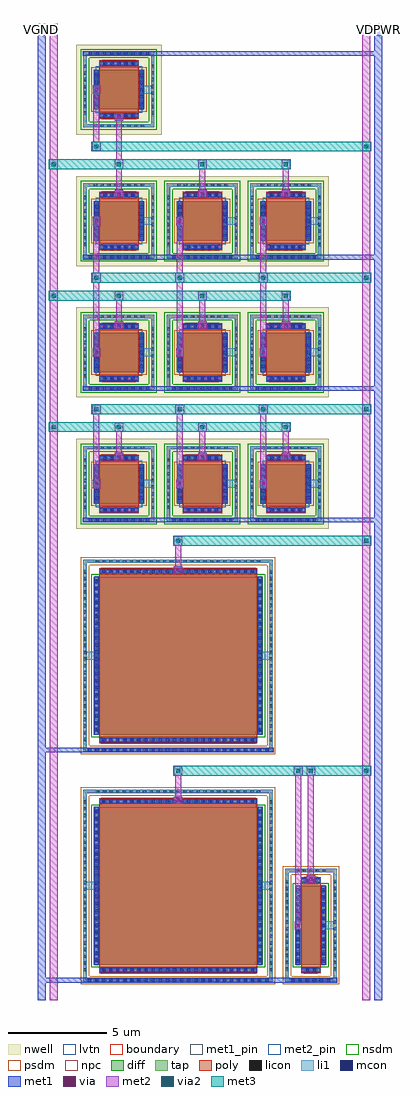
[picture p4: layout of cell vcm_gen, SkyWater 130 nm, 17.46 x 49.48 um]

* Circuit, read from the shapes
.subckt vcm_gen VDPWR VGND pbias vcm
XM1 VGND vcm VGND VGND sky130_fd_pr__nfet_01v8 w=8 l=8 m=2
XM2 VGND vcm vcm VGND sky130_fd_pr__nfet_01v8 w=4 l=1
XM3 VDPWR pbias vcm VDPWR sky130_fd_pr__pfet_01v8_lvt w=2 l=2 m=10
.ends

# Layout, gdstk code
import gdstk
lib = gdstk.Library(unit=1e-6, precision=1e-09)
def R(c, l, rs):  # rectangles x0, y0, x1, y1
    for r in rs: c.add(gdstk.rectangle(r[:2], r[2:], *l))
def A(c, l, x, y, w, h, nx, ny, dx, dy):  # array of equal rectangles
    R(c, l, [(x+i*dx, y+j*dy, x+i*dx+w, y+j*dy+h) for i in range(nx) for j in range(ny)])
nwell = (64, 20)
diff = (65, 20)
tap = (65, 44)
poly = (66, 20)
licon = (66, 44)
li1 = (67, 20)
mcon = (67, 44)
met1_pin = (68, 16)
met1 = (68, 20)
via = (68, 44)
met2_pin = (69, 16)
met2 = (69, 20)
via2 = (69, 44)
met3 = (70, 20)
nsdm = (93, 44)
psdm = (94, 20)
npc = (95, 20)
lvtn = (125, 44)
boundary = (235, 4)

sky130_fd_pr__nfet_01v8_ = lib.new_cell('sky130_fd_pr__nfet_01v8_7TCZS3')
R(sky130_fd_pr__nfet_01v8_, diff, [(-4.29,-4,4.29,4)])
R(sky130_fd_pr__nfet_01v8_, tap, [(-4.8,-4.87,4.8,-4.7), (-4.8,-4.7,-4.63,4.7), (4.63,-4.7,4.8,4.7), (-4.8,4.7,4.8,4.87)])
R(sky130_fd_pr__nfet_01v8_, poly, [(-4,-4.44,4,4.44)])
A(sky130_fd_pr__nfet_01v8_, licon, -4.165, -4.87, 0.17, 0.17, 25, 2, 0.34, 9.57)
A(sky130_fd_pr__nfet_01v8_, licon, -3.825, -4.36, 0.17, 0.17, 23, 2, 0.34, 8.55)
A(sky130_fd_pr__nfet_01v8_, licon, -4.8, -4.335, 0.17, 0.17, 1, 26, 0, 0.34)
A(sky130_fd_pr__nfet_01v8_, licon, 4.63, -4.335, 0.17, 0.17, 1, 26, 0, 0.34)
A(sky130_fd_pr__nfet_01v8_, licon, -4.23, -3.825, 0.17, 0.17, 1, 23, 0, 0.34)
A(sky130_fd_pr__nfet_01v8_, licon, 4.06, -3.825, 0.17, 0.17, 1, 23, 0, 0.34)
R(sky130_fd_pr__nfet_01v8_, li1, [(-4.8,-4.87,4.8,-4.7), (-4.8,-4.7,-4.63,4.7), (4.63,-4.7,4.8,4.7), (-4,-4.36,4,-4.19), (-4.23,-4.02,-4.06,4.02), (4.06,-4.02,4.23,4.02), (-4,4.19,4,4.36), (-4.8,4.7,4.8,4.87)])
A(sky130_fd_pr__nfet_01v8_, mcon, -4.585, -4.87, 0.17, 0.17, 26, 1, 0.36, 0)
A(sky130_fd_pr__nfet_01v8_, mcon, -3.865, -4.36, 0.17, 0.17, 22, 2, 0.36, 8.55)
A(sky130_fd_pr__nfet_01v8_, mcon, -4.23, -3.865, 0.17, 0.17, 1, 22, 0, 0.36)
A(sky130_fd_pr__nfet_01v8_, mcon, 4.06, -3.865, 0.17, 0.17, 1, 22, 0, 0.36)
R(sky130_fd_pr__nfet_01v8_, met1, [(-4.69,-4.9,4.69,-4.67), (-3.98,-4.39,3.98,-4.16), (-4.26,-4,-4.03,4), (4.03,-4,4.26,4), (-3.98,4.16,3.98,4.39)])
R(sky130_fd_pr__nfet_01v8_, nsdm, [(-4.415,-4.125,4.415,4.125)])
R(sky130_fd_pr__nfet_01v8_, psdm, [(-4.925,-4.995,4.925,-4.575), (-4.925,-4.575,-4.505,4.575), (4.505,-4.575,4.925,4.575), (-4.925,4.575,4.925,4.995)])
R(sky130_fd_pr__nfet_01v8_, npc, [(-3.925,-4.46,3.925,-4.09), (-3.925,4.09,3.925,4.46)])
R(sky130_fd_pr__nfet_01v8_, boundary, [(-4.715,-4.785,4.715,4.785)])
sky130_fd_pr__nfet_01v8_.add(gdstk.Label('B', (0,-4.785), layer=67, texttype=5))
sky130_fd_pr__nfet_01v8_.add(gdstk.Label('D', (-4.145,0), layer=67, texttype=5))
sky130_fd_pr__nfet_01v8_.add(gdstk.Label('S', (4.145,0), layer=67, texttype=5))
sky130_fd_pr__nfet_01v8_.add(gdstk.Label('G', (0,4.275), layer=67, texttype=5))

c_sky130_fd_pr__nfet_01v8_ = lib.new_cell('sky130_fd_pr__nfet_01v8_FEH8BE')
R(c_sky130_fd_pr__nfet_01v8_, diff, [(-0.79,-2,0.79,2)])
R(c_sky130_fd_pr__nfet_01v8_, tap, [(-1.3,-2.87,1.3,-2.7), (-1.3,-2.7,-1.13,2.7), (1.13,-2.7,1.3,2.7), (-1.3,2.7,1.3,2.87)])
R(c_sky130_fd_pr__nfet_01v8_, poly, [(-0.5,-2.44,0.5,2.44)])
A(c_sky130_fd_pr__nfet_01v8_, licon, -0.765, -2.87, 0.17, 0.17, 5, 2, 0.34, 5.57)
A(c_sky130_fd_pr__nfet_01v8_, licon, -1.3, -2.295, 0.17, 0.17, 1, 14, 0, 0.34)
A(c_sky130_fd_pr__nfet_01v8_, licon, 1.13, -2.295, 0.17, 0.17, 1, 14, 0, 0.34)
A(c_sky130_fd_pr__nfet_01v8_, licon, -0.73, -1.785, 0.17, 0.17, 1, 11, 0, 0.34)
A(c_sky130_fd_pr__nfet_01v8_, licon, 0.56, -1.785, 0.17, 0.17, 1, 11, 0, 0.34)
R(c_sky130_fd_pr__nfet_01v8_, licon, [(-0.255,-2.36,-0.085,-2.19), (0.085,-2.36,0.255,-2.19), (-0.255,2.19,-0.085,2.36), (0.085,2.19,0.255,2.36)])
R(c_sky130_fd_pr__nfet_01v8_, li1, [(-1.3,-2.87,1.3,-2.7), (-1.3,-2.7,-1.13,2.7), (1.13,-2.7,1.3,2.7), (-0.5,-2.36,0.5,-2.19), (-0.73,-2.02,-0.56,2.02), (0.56,-2.02,0.73,2.02), (-0.5,2.19,0.5,2.36), (-1.3,2.7,1.3,2.87)])
A(c_sky130_fd_pr__nfet_01v8_, mcon, -0.985, -2.87, 0.17, 0.17, 6, 1, 0.36, 0)
A(c_sky130_fd_pr__nfet_01v8_, mcon, -0.73, -1.885, 0.17, 0.17, 1, 11, 0, 0.36)
A(c_sky130_fd_pr__nfet_01v8_, mcon, 0.56, -1.885, 0.17, 0.17, 1, 11, 0, 0.36)
R(c_sky130_fd_pr__nfet_01v8_, mcon, [(-0.265,-2.36,-0.095,-2.19), (0.095,-2.36,0.265,-2.19), (-0.265,2.19,-0.095,2.36), (0.095,2.19,0.265,2.36)])
R(c_sky130_fd_pr__nfet_01v8_, met1, [(-1.19,-2.9,1.19,-2.67), (-0.48,-2.39,0.48,-2.16), (-0.76,-2,-0.53,2), (0.53,-2,0.76,2), (-0.48,2.16,0.48,2.39)])
R(c_sky130_fd_pr__nfet_01v8_, nsdm, [(-0.915,-2.125,0.915,2.125)])
R(c_sky130_fd_pr__nfet_01v8_, psdm, [(-1.425,-2.995,1.425,-2.575), (-1.425,-2.575,-1.005,2.575), (1.005,-2.575,1.425,2.575), (-1.425,2.575,1.425,2.995)])
R(c_sky130_fd_pr__nfet_01v8_, npc, [(-0.355,-2.46,0.355,-2.09), (-0.355,2.09,0.355,2.46)])
R(c_sky130_fd_pr__nfet_01v8_, boundary, [(-1.215,-2.785,1.215,2.785)])
c_sky130_fd_pr__nfet_01v8_.add(gdstk.Label('B', (0,-2.785), layer=67, texttype=5))
c_sky130_fd_pr__nfet_01v8_.add(gdstk.Label('D', (-0.645,0), layer=67, texttype=5))
c_sky130_fd_pr__nfet_01v8_.add(gdstk.Label('S', (0.645,0), layer=67, texttype=5))
c_sky130_fd_pr__nfet_01v8_.add(gdstk.Label('G', (0,2.275), layer=67, texttype=5))

sky130_fd_pr__pfet_01v8_ = lib.new_cell('sky130_fd_pr__pfet_01v8_lvt_HDY43K')
R(sky130_fd_pr__pfet_01v8_, nwell, [(-1.98,-2.095,1.98,2.095)])
R(sky130_fd_pr__pfet_01v8_, diff, [(-1.29,-1,1.29,1)])
R(sky130_fd_pr__pfet_01v8_, tap, [(-1.8,-1.915,1.8,-1.745), (-1.8,-1.745,-1.63,1.745), (1.63,-1.745,1.8,1.745), (-1.8,1.745,1.8,1.915)])
R(sky130_fd_pr__pfet_01v8_, poly, [(-1,-1.485,1,1.485)])
A(sky130_fd_pr__pfet_01v8_, licon, -1.275, -1.915, 0.17, 0.17, 8, 2, 0.34, 3.66)
A(sky130_fd_pr__pfet_01v8_, licon, -0.765, -1.405, 0.17, 0.17, 5, 2, 0.34, 2.64)
A(sky130_fd_pr__pfet_01v8_, licon, -1.8, -1.275, 0.17, 0.17, 1, 8, 0, 0.34)
A(sky130_fd_pr__pfet_01v8_, licon, 1.63, -1.275, 0.17, 0.17, 1, 8, 0, 0.34)
A(sky130_fd_pr__pfet_01v8_, licon, -1.23, -0.935, 0.17, 0.17, 1, 6, 0, 0.34)
A(sky130_fd_pr__pfet_01v8_, licon, 1.06, -0.935, 0.17, 0.17, 1, 6, 0, 0.34)
R(sky130_fd_pr__pfet_01v8_, li1, [(-1.8,-1.915,1.8,-1.745), (-1.8,-1.745,-1.63,1.745), (1.63,-1.745,1.8,1.745), (-1,-1.405,1,-1.235), (-1.23,-1.02,-1.06,1.02), (1.06,-1.02,1.23,1.02), (-1,1.235,1,1.405), (-1.8,1.745,1.8,1.915)])
A(sky130_fd_pr__pfet_01v8_, mcon, -1.525, -1.915, 0.17, 0.17, 9, 1, 0.36, 0)
A(sky130_fd_pr__pfet_01v8_, mcon, -0.805, -1.405, 0.17, 0.17, 5, 2, 0.36, 2.64)
A(sky130_fd_pr__pfet_01v8_, mcon, -1.23, -0.805, 0.17, 0.17, 1, 5, 0, 0.36)
A(sky130_fd_pr__pfet_01v8_, mcon, 1.06, -0.805, 0.17, 0.17, 1, 5, 0, 0.36)
R(sky130_fd_pr__pfet_01v8_, met1, [(-1.69,-1.945,1.69,-1.715), (-0.98,-1.435,0.98,-1.205), (-1.26,-1,-1.03,1), (1.03,-1,1.26,1), (-0.98,1.205,0.98,1.435)])
R(sky130_fd_pr__pfet_01v8_, nsdm, [(-1.925,-2.04,1.925,-1.62), (-1.925,-1.62,-1.505,1.62), (1.505,-1.62,1.925,1.62), (-1.925,1.62,1.925,2.04)])
R(sky130_fd_pr__pfet_01v8_, psdm, [(-1.415,-1.125,1.415,1.125)])
R(sky130_fd_pr__pfet_01v8_, npc, [(-0.865,-1.505,0.865,-1.135), (-0.865,1.135,0.865,1.505)])
R(sky130_fd_pr__pfet_01v8_, lvtn, [(-1.18,-1.18,1.18,1.18)])
R(sky130_fd_pr__pfet_01v8_, boundary, [(-1.715,-1.83,1.715,1.83)])
sky130_fd_pr__pfet_01v8_.add(gdstk.Label('B', (0,-1.83), layer=67, texttype=5))
sky130_fd_pr__pfet_01v8_.add(gdstk.Label('D', (-1.145,0), layer=67, texttype=5))
sky130_fd_pr__pfet_01v8_.add(gdstk.Label('S', (1.145,0), layer=67, texttype=5))
sky130_fd_pr__pfet_01v8_.add(gdstk.Label('G', (0,1.32), layer=67, texttype=5))

c_sky130_fd_pr__pfet_01v8_ = lib.new_cell('sky130_fd_pr__pfet_01v8_lvt_HD45KK')
R(c_sky130_fd_pr__pfet_01v8_, nwell, [(-1.98,-2.095,1.98,2.095)])
R(c_sky130_fd_pr__pfet_01v8_, diff, [(-1.29,-1,1.29,1)])
R(c_sky130_fd_pr__pfet_01v8_, tap, [(-1.8,-1.915,1.8,-1.745), (-1.8,-1.745,-1.63,1.745), (1.63,-1.745,1.8,1.745), (-1.8,1.745,1.8,1.915)])
R(c_sky130_fd_pr__pfet_01v8_, poly, [(-1,-1.485,1,1.485)])
A(c_sky130_fd_pr__pfet_01v8_, licon, -1.275, -1.915, 0.17, 0.17, 8, 2, 0.34, 3.66)
A(c_sky130_fd_pr__pfet_01v8_, licon, -0.765, -1.405, 0.17, 0.17, 5, 2, 0.34, 2.64)
A(c_sky130_fd_pr__pfet_01v8_, licon, -1.8, -1.275, 0.17, 0.17, 1, 8, 0, 0.34)
A(c_sky130_fd_pr__pfet_01v8_, licon, 1.63, -1.275, 0.17, 0.17, 1, 8, 0, 0.34)
A(c_sky130_fd_pr__pfet_01v8_, licon, -1.23, -0.935, 0.17, 0.17, 1, 6, 0, 0.34)
A(c_sky130_fd_pr__pfet_01v8_, licon, 1.06, -0.935, 0.17, 0.17, 1, 6, 0, 0.34)
R(c_sky130_fd_pr__pfet_01v8_, li1, [(-1.8,-1.915,1.8,-1.745), (-1.8,-1.745,-1.63,1.745), (1.63,-1.745,1.8,1.745), (-1,-1.405,1,-1.235), (-1.23,-1.02,-1.06,1.02), (1.06,-1.02,1.23,1.02), (-1,1.235,1,1.405), (-1.8,1.745,1.8,1.915)])
A(c_sky130_fd_pr__pfet_01v8_, mcon, -0.805, -1.405, 0.17, 0.17, 5, 2, 0.36, 2.64)
A(c_sky130_fd_pr__pfet_01v8_, mcon, -1.23, -0.805, 0.17, 0.17, 1, 5, 0, 0.36)
A(c_sky130_fd_pr__pfet_01v8_, mcon, 1.06, -0.805, 0.17, 0.17, 1, 5, 0, 0.36)
A(c_sky130_fd_pr__pfet_01v8_, mcon, -1.525, 1.745, 0.17, 0.17, 9, 1, 0.36, 0)
R(c_sky130_fd_pr__pfet_01v8_, met1, [(-0.98,-1.435,0.98,-1.205), (-1.26,-1,-1.03,1), (1.03,-1,1.26,1), (-0.98,1.205,0.98,1.435), (-1.69,1.715,1.69,1.945)])
R(c_sky130_fd_pr__pfet_01v8_, nsdm, [(-1.925,-2.04,1.925,-1.62), (-1.925,-1.62,-1.505,1.62), (1.505,-1.62,1.925,1.62), (-1.925,1.62,1.925,2.04)])
R(c_sky130_fd_pr__pfet_01v8_, psdm, [(-1.415,-1.125,1.415,1.125)])
R(c_sky130_fd_pr__pfet_01v8_, npc, [(-0.865,-1.505,0.865,-1.135), (-0.865,1.135,0.865,1.505)])
R(c_sky130_fd_pr__pfet_01v8_, lvtn, [(-1.18,-1.18,1.18,1.18)])
R(c_sky130_fd_pr__pfet_01v8_, boundary, [(-1.715,-1.83,1.715,1.83)])
c_sky130_fd_pr__pfet_01v8_.add(gdstk.Label('B', (0,-1.83), layer=67, texttype=5))
c_sky130_fd_pr__pfet_01v8_.add(gdstk.Label('D', (-1.145,0), layer=67, texttype=5))
c_sky130_fd_pr__pfet_01v8_.add(gdstk.Label('S', (1.145,0), layer=67, texttype=5))
c_sky130_fd_pr__pfet_01v8_.add(gdstk.Label('G', (0,1.32), layer=67, texttype=5))

vcm_gen = lib.new_cell('vcm_gen')
A(vcm_gen, nwell, -0.45, 22.89, 12.79, 4.56, 1, 3, 0, 6.66)
R(vcm_gen, nwell, [(-0.45,42.87,3.88,47.43)])
A(vcm_gen, li1, 2.775, 24.97, 0.74, 0.4, 3, 3, 4.23, 6.66)
R(vcm_gen, li1, [(12.005,2.585,12.745,2.985), (-0.085,4.585,0.655,4.985), (8.775,4.585,9.515,4.985), (-0.085,16.255,0.655,16.655), (8.775,16.255,9.515,16.655), (2.775,44.95,3.515,45.35)])
R(vcm_gen, met1_pin, [(-2.4,47.88,-2,48.48), (14.66,47.88,15.06,48.48)])
A(vcm_gen, met1, -0.12, 23.22, 15.18, 0.24, 1, 3, 0, 6.66)
A(vcm_gen, met1, 0.385, 24.955, 0.37, 0.43, 3, 3, 4.23, 6.66)
A(vcm_gen, met1, 1.5, 26.375, 0.43, 0.37, 3, 3, 4.23, 6.66)
R(vcm_gen, met1, [(-2.4,-1,-2,-0.12), (14.66,-1,15.06,23.22), (-2.4,-0.12,12.78,0.12), (-2.4,0.12,-2,11.55), (10.615,2.57,10.985,3), (11.23,4.945,11.66,5.315), (4.5,8.945,4.93,9.315), (-2.4,11.55,9.55,11.79), (-2.4,11.79,-2,48.48), (4.5,20.615,4.93,20.985), (14.66,23.46,15.06,29.88), (14.66,30.12,15.06,36.54), (14.66,36.78,15.06,46.86), (1.5,43.575,1.93,43.945), (0.385,44.935,0.755,45.365), (-0.12,46.86,15.06,47.1), (14.66,47.1,15.06,48.48)])
A(vcm_gen, via, 0.495, 25.095, 0.15, 0.15, 3, 3, 4.23, 6.66)
A(vcm_gen, via, 1.64, 26.485, 0.15, 0.15, 3, 3, 4.23, 6.66)
R(vcm_gen, via, [(10.725,2.71,10.875,2.86), (11.37,5.055,11.52,5.205), (4.64,9.055,4.79,9.205), (4.64,20.725,4.79,20.875), (1.64,43.685,1.79,43.835), (0.495,45.075,0.645,45.225)])
R(vcm_gen, met2_pin, [(-1.8,47.88,-1.4,48.48), (14.06,47.88,14.46,48.48)])
A(vcm_gen, met2, 14.04, 22.07, 0.44, 0.44, 1, 4, 0, 6.66)
A(vcm_gen, met2, 14.06, 22.51, 0.4, 6.22, 1, 3, 0, 6.66)
A(vcm_gen, met2, 0.385, 24.955, 0.37, 0.43, 3, 3, 4.23, 6.66)
A(vcm_gen, met2, 0.42, 25.385, 0.3, 3.345, 3, 2, 4.23, 6.66)
A(vcm_gen, met2, 1.5, 26.375, 0.43, 0.37, 3, 3, 4.23, 6.66)
A(vcm_gen, met2, 1.565, 26.745, 0.3, 1.085, 3, 3, 4.23, 6.66)
A(vcm_gen, met2, -1.82, 27.83, 0.44, 0.44, 1, 3, 0, 6.66)
A(vcm_gen, met2, 1.495, 27.83, 0.44, 0.44, 3, 3, 4.23, 6.66)
A(vcm_gen, met2, 0.35, 28.73, 0.44, 0.44, 3, 2, 4.23, 6.66)
A(vcm_gen, met2, 0.42, 35.83, 0.3, 2.445, 3, 1, 4.23, 0)
R(vcm_gen, met2, [(-1.8,-1,-1.4,27.83), (14.06,-1,14.46,10.4), (10.615,2.57,10.985,3), (10.65,3,10.95,10.4), (11.23,4.945,11.66,5.315), (11.295,5.315,11.595,10.4), (4.5,8.945,4.93,9.315), (4.565,9.315,4.865,10.4), (4.495,10.4,4.935,10.84), (10.58,10.4,11.02,10.84), (11.225,10.4,11.665,10.84), (14.04,10.4,14.48,10.84), (14.06,10.84,14.46,22.07), (4.5,20.615,4.93,20.985), (4.565,20.985,4.865,22.07), (4.495,22.07,4.935,22.51), (-1.8,28.27,-1.4,34.49), (-1.8,34.93,-1.4,41.15), (-1.8,41.59,-1.4,48.48), (1.565,41.59,1.865,43.575), (0.35,42.05,0.79,42.49), (0.42,42.49,0.72,44.935), (14.06,42.49,14.46,48.48), (1.5,43.575,1.93,43.945), (0.385,44.935,0.755,45.365)])
A(vcm_gen, via2, 14.16, 22.19, 0.2, 0.2, 1, 4, 0, 6.66)
A(vcm_gen, via2, -1.7, 27.95, 0.2, 0.2, 1, 3, 0, 6.66)
A(vcm_gen, via2, 1.615, 27.95, 0.2, 0.2, 3, 3, 4.23, 6.66)
A(vcm_gen, via2, 0.47, 28.85, 0.2, 0.2, 3, 2, 4.23, 6.66)
R(vcm_gen, via2, [(4.615,10.52,4.815,10.72), (10.7,10.52,10.9,10.72), (11.345,10.52,11.545,10.72), (14.16,10.52,14.36,10.72), (4.615,22.19,4.815,22.39), (0.47,42.17,0.67,42.37)])
A(vcm_gen, met3, -1.85, 27.8, 12.275, 0.5, 1, 3, 0, 6.66)
A(vcm_gen, met3, 0.32, 28.7, 14.19, 0.5, 1, 3, 0, 6.66)
R(vcm_gen, met3, [(4.465,10.37,14.51,10.87), (4.465,22.04,14.51,22.54)])
vcm_gen.add(gdstk.Reference(sky130_fd_pr__nfet_01v8_, (4.715,4.785)))
vcm_gen.add(gdstk.Reference(c_sky130_fd_pr__nfet_01v8_, (11.445,2.785)))
vcm_gen.add(gdstk.Reference(sky130_fd_pr__nfet_01v8_, (4.715,16.455)))
vcm_gen.add(gdstk.Reference(sky130_fd_pr__pfet_01v8_, (1.715,25.17)))
vcm_gen.add(gdstk.Reference(sky130_fd_pr__pfet_01v8_, (5.945,25.17)))
vcm_gen.add(gdstk.Reference(sky130_fd_pr__pfet_01v8_, (10.175,25.17)))
vcm_gen.add(gdstk.Reference(sky130_fd_pr__pfet_01v8_, (1.715,31.83)))
vcm_gen.add(gdstk.Reference(sky130_fd_pr__pfet_01v8_, (5.945,31.83)))
vcm_gen.add(gdstk.Reference(sky130_fd_pr__pfet_01v8_, (10.175,31.83)))
vcm_gen.add(gdstk.Reference(sky130_fd_pr__pfet_01v8_, (10.175,38.49)))
vcm_gen.add(gdstk.Reference(sky130_fd_pr__pfet_01v8_, (5.945,38.49)))
vcm_gen.add(gdstk.Reference(sky130_fd_pr__pfet_01v8_, (1.715,38.49)))
vcm_gen.add(gdstk.Reference(c_sky130_fd_pr__pfet_01v8_, (1.715,45.15)))
vcm_gen.add(gdstk.Label('VGND', (-2.2,48.18), layer=68, texttype=5))
vcm_gen.add(gdstk.Label('VDPWR', (14.86,48.18), layer=68, texttype=5))
vcm_gen.add(gdstk.Label('pbias', (-1.6,48.18), layer=69, texttype=5))
vcm_gen.add(gdstk.Label('vcm', (14.26,48.18), layer=69, texttype=5))

lib.write_gds('vcm_gen.gds')
